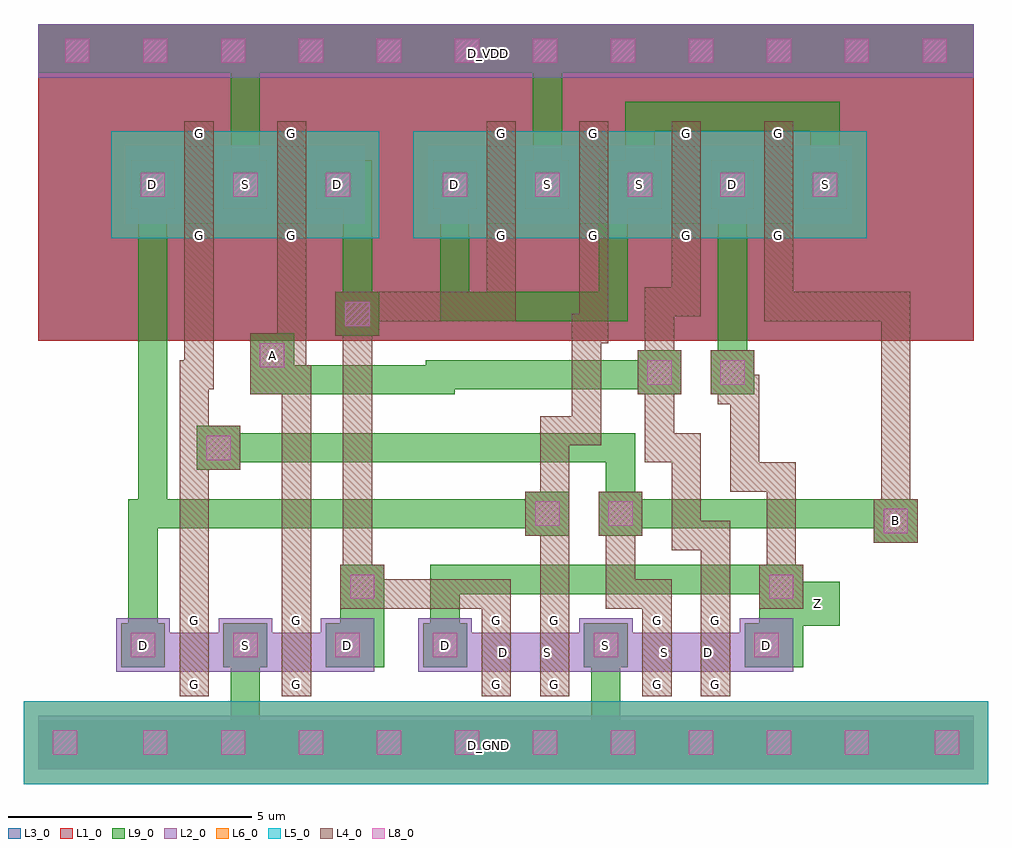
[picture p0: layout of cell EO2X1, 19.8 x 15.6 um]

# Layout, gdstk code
import gdstk
lib = gdstk.Library(unit=1e-6, precision=1e-09)
def R(c, l, rs):  # rectangles x0, y0, x1, y1
    for r in rs: c.add(gdstk.rectangle(r[:2], r[2:], *l))
def A(c, l, x, y, w, h, nx, ny, dx, dy):  # array of equal rectangles
    R(c, l, [(x+i*dx, y+j*dy, x+i*dx+w, y+j*dy+h) for i in range(nx) for j in range(ny)])
def P(c, l, *ps):  # polygons
    for p in ps: c.add(gdstk.Polygon(p, *l))
L1_0 = (1, 0)
L2_0 = (2, 0)
L3_0 = (3, 0)
L4_0 = (4, 0)
L5_0 = (5, 0)
L6_0 = (6, 0)
L8_0 = (8, 0)
L9_0 = (9, 0)

eo2x1 = lib.new_cell('EO2X1')
A(eo2x1, L1_0, -14.5, 4.6, 1.6, 6.5, 12, 1, 1.6, 0)
A(eo2x1, L1_0, -8, 5.5, 6, 4.6, 4, 1, 1.9, 0)
R(eo2x1, L1_0, [(-14.2,5.5,-8.2,10.1), (-12.3,5.5,-6.3,10.1)])
A(eo2x1, L2_0, -14.5, -4.2, 1.6, 1.1, 12, 2, 1.6, 14.2)
A(eo2x1, L2_0, -5.4, 7, 0.8, 1.6, 4, 1, 1.9, 0)
R(eo2x1, L2_0, [(-14.5,-4.2,-13.4,-3.1), (3.6,-4.2,4.7,-3.1), (-12.9,-2.2,-11.8,-1.1), (-11.8,-2.2,-10.8,-1.4), (-10.8,-2.2,-9.7,-1.1), (-10.8,-2.2,-9.7,-1.1), (-9.7,-2.2,-8.7,-1.4), (-8.7,-2.2,-7.6,-1.1), (-6.7,-2.2,-5.6,-1.1), (-5.6,-2.2,-4.6,-1.4), (-5.5,-2.2,-4.4,-1.4), (-4.6,-2.2,-3.5,-1.4), (-4.4,-2.2,-3.4,-1.4), (-3.4,-2.2,-2.3,-1.1), (-3.4,-2.2,-2.3,-1.1), (-2.3,-2.2,-1.3,-1.4), (-2.2,-2.2,-1.1,-1.4), (-1.3,-2.2,-0.2,-1.4), (-1.1,-2.2,-0.1,-1.4), (-0.1,-2.2,1,-1.1), (-12.7,7,-11.6,8.6), (-11.6,7,-10.8,8.6), (-10.8,7,-9.7,8.6), (-10.8,7,-9.7,8.6), (-9.7,7,-8.9,8.6), (-8.9,7,-7.8,8.6), (-6.5,7,-5.4,8.6), (-4.6,7,-3.5,8.6), (-4.6,7,-3.5,8.6), (-2.7,7,-1.6,8.6), (-2.7,7,-1.6,8.6), (-0.8,7,0.3,8.6), (-0.8,7,0.3,8.6), (1.1,7,2.2,8.6)])
A(eo2x1, L3_0, -14.5, 4.6, 1.6, 6.5, 12, 1, 1.6, 0)
A(eo2x1, L3_0, -8, 5.5, 6, 4.6, 4, 1, 1.9, 0)
R(eo2x1, L3_0, [(-14.2,5.5,-8.2,10.1), (-12.3,5.5,-6.3,10.1)])
A(eo2x1, L4_0, -5.3, 6.5, 0.6, 2.6, 4, 1, 1.9, 0)
A(eo2x1, L4_0, -5.3, 6.5, 0.6, 0.5, 4, 2, 1.9, 2.1)
R(eo2x1, L4_0, [(-11.6,-2.7,-11,-2.2), (-11.6,-2.7,-11,-0.9), (-9.5,-2.7,-8.9,-2.2), (-9.5,-2.7,-8.9,-0.9), (-5.4,-2.7,-4.8,-2.2), (-5.4,-2.7,-4.8,-0.9), (-4.2,-2.7,-3.6,-2.2), (-4.2,-2.7,-3.6,-0.9), (-2.1,-2.7,-1.5,-2.2), (-2.1,-2.7,-1.5,-0.9), (-0.9,-2.7,-0.3,-2.2), (-0.9,-2.7,-0.3,-0.9), (-11.6,-1.4,-11,-0.9), (-9.5,-1.4,-8.9,-0.9), (-5.4,-1.4,-4.8,-0.9), (-4.2,-1.4,-3.6,-0.9), (-2.1,-1.4,-1.5,-0.9), (-0.9,-1.4,-0.3,-0.9), (-11.6,-1.2,-11,4.1), (-9.5,-1.2,-8.9,4.1), (-0.9,-1.2,-0.3,0.55), (-8.3,-0.9,-7.4,0), (-7.8,-0.9,-4.8,-0.3), (0.3,-0.9,1.2,0), (0.45,-0.75,1.05,1.75), (-1.5,0.3,-0.3,0.9), (2.65,0.45,3.55,1.35), (-4.5,0.6,-3.6,1.5), (-3,0.6,-2.1,1.5), (-0.3,1.5,1.05,2.1), (-11.25,1.95,-10.35,2.85), (-10.15,3.5,-9.3,3.95), (-2.2,3.5,-1.3,4.4), (-0.7,3.5,0.2,4.4), (-10.15,3.85,-9.25,4.75), (-9.6,4.1,-9,5.8), (-2.05,4.2,-1.45,5.7), (-8.4,4.7,-7.5,5.6), (-11.5,4.75,-10.9,6.8), (-8.25,5,-4.7,5.6), (-5.3,5,-4.7,6.8), (-2.05,5.1,-0.9,5.7), (-9.6,5.2,-9,7.05), (-3.4,5.25,-2.8,6.8), (0.4,5.45,1,7.05), (-1.5,5.55,-0.9,6.8), (-11.5,6.5,-10.9,9.1), (-11.5,6.5,-10.9,7), (-9.6,6.5,-9,9.1), (-9.6,6.5,-9,7), (0.4,6.75,1,8.1), (-11.5,8.6,-10.9,9.1), (-9.6,8.6,-9,9.1)])
P(eo2x1, L4_0, [(-4.2,-1.2),(-3.6,-1.2),(-3.6,2.45),(-2.95,2.45),(-2.95,3.55),(-3.55,3.55),(-3.55,3.05),(-4.2,3.05)],
  [(-0.55,3.3),(-0.3,3.3),(-0.3,1.85),(0.3,1.85),(0.3,3.9),(0.05,3.9),(0.05,4.35),(-0.55,4.35)],
  [(-3.55,3.05),(-2.95,3.05),(-2.95,4.55),(-2.8,4.55),(-2.8,5.7),(-3.4,5.7),(-3.4,5.15),(-3.55,5.15)],
  [(-8.25,-0.8),(-7.4,-0.8),(-7.4,-0.2),(-7.65,-0.2),(-7.65,5.45),(-8.25,5.45)],
  [(-2.05,3.85),(-1.45,3.85),(-1.45,5.1),(-0.9,5.1),(-0.9,6.1),(-1.5,6.1),(-1.5,5.7),(-2.05,5.7)],
  [(0.4,5),(2.8,5),(2.8,0.6),(3.4,0.6),(3.4,5.6),(1,5.6),(1,6.05),(0.4,6.05)],
  [(-11.6,3.6),(-10.9,3.6),(-10.9,5.7),(-11.5,5.7),(-11.5,4.2),(-11.6,4.2)],
  [(-2.85,-0.9),(-2.1,-0.9),(-2.1,-1.55),(-1.5,-1.55),(-1.5,-0.3),(-2.25,-0.3),(-2.25,1.35),(-2.85,1.35)],
  [(-2.05,2.1),(-1.5,2.1),(-1.5,0.6),(-0.9,0.6),(-0.9,2.7),(-1.45,2.7),(-1.45,4.25),(-2.05,4.25)])
A(eo2x1, L5_0, -14.5, -4.5, 1.6, 1.7, 12, 1, 1.6, 0)
A(eo2x1, L5_0, -6.8, 6.7, 3.6, 2.2, 4, 1, 1.9, 0)
R(eo2x1, L5_0, [(-14.8,-4.5,-13.1,-2.8), (3.3,-4.5,5,-2.8), (-13,6.7,-9.4,8.9), (-11.1,6.7,-7.5,8.9)])
A(eo2x1, L6_0, -14.5, -4.5, 1.6, 1.7, 12, 1, 1.6, 0)
A(eo2x1, L6_0, -6.8, 6.7, 3.6, 2.2, 4, 1, 1.9, 0)
R(eo2x1, L6_0, [(-14.8,-4.5,-13.1,-2.8), (3.3,-4.5,5,-2.8), (-13,6.7,-9.4,8.9), (-11.1,6.7,-7.5,8.9)])
A(eo2x1, L8_0, -12.35, -3.9, 0.5, 0.5, 10, 1, 1.6, 0)
A(eo2x1, L8_0, -13.95, 10.3, 0.5, 0.5, 12, 1, 1.6, 0)
R(eo2x1, L8_0, [(-14.2,-3.9,-13.7,-3.4), (3.9,-3.9,4.4,-3.4), (-12.6,-1.9,-12.1,-1.4), (-10.5,-1.9,-10,-1.4), (-10.5,-1.9,-10,-1.4), (-8.4,-1.9,-7.9,-1.4), (-6.4,-1.9,-5.9,-1.4), (-3.1,-1.9,-2.6,-1.4), (-3.1,-1.9,-2.6,-1.4), (0.2,-1.9,0.7,-1.4), (-8.1,-0.7,-7.6,-0.2), (0.5,-0.7,1,-0.2), (2.85,0.65,3.35,1.15), (-4.3,0.8,-3.8,1.3), (-2.8,0.8,-2.3,1.3), (-11.05,2.15,-10.55,2.65), (-2,3.7,-1.5,4.2), (-0.5,3.7,0,4.2), (-9.95,4.05,-9.45,4.55), (-8.2,4.9,-7.7,5.4), (-12.4,7.55,-11.9,8.05), (-10.5,7.55,-10,8.05), (-10.5,7.55,-10,8.05), (-8.6,7.55,-8.1,8.05), (-6.2,7.55,-5.7,8.05), (-4.3,7.55,-3.8,8.05), (-4.3,7.55,-3.8,8.05), (-2.4,7.55,-1.9,8.05), (-2.4,7.55,-1.9,8.05), (-0.5,7.55,0,8.05), (-0.5,7.55,0,8.05), (1.4,7.55,1.9,8.05)])
A(eo2x1, L9_0, -14.5, -4.2, 1.6, 1, 12, 2, 1.6, 14.3)
R(eo2x1, L9_0, [(-14.5,-4.2,-13.4,-3.2), (-13.5,-4.2,3,-3.2), (3.6,-4.2,4.7,-3.2), (-3.15,-4,-2.55,-1.35), (-12.8,-2.1,-11.9,-1.2), (-10.7,-2.1,-9.8,-1.2), (-10.7,-2.1,-9.8,-1.2), (-8.6,-2.1,-7.7,-1.2), (-8.3,-2.1,-7.4,-0.85), (-6.6,-2.1,-5.7,-1.2), (-3.3,-2.1,-2.4,-1.2), (-3.3,-2.1,-2.4,-1.2), (0,-2.1,0.9,-1.2), (0.3,-2.1,1.2,-0.75), (-12.65,-1.95,-12.05,1.35), (-6.45,-1.95,-5.85,-0.1), (1.05,-1.25,1.95,-0.35), (1.2,-1.1,1.8,-0.5), (-8.3,-0.9,-7.4,0), (0.3,-0.9,1.2,0), (-6.45,-0.6,-3,0), (-3.4,-0.6,1.2,0), (2.65,0.45,3.55,1.35), (-4.5,0.6,-3.6,1.5), (-3,0.6,-2.1,1.5), (2.8,0.6,3.4,1.2), (-12.65,0.75,-3.75,1.35), (-2.85,0.75,-2.25,2.7), (-2.85,0.75,2.4,1.35), (2.05,0.75,3.25,1.35), (-11.25,1.95,-10.35,2.85), (-11.25,2.1,-4,2.7), (-4.6,2.1,-2.45,2.7), (-10.15,3.5,-8.75,4.1), (-9.6,3.5,-7.25,4.1), (-2.2,3.5,-1.3,4.4), (-0.7,3.5,0.2,4.4), (-6.55,3.6,-1.6,4.2), (-10.15,3.85,-9.25,4.75), (-10,4,-9.4,4.6), (-0.55,4.05,0.05,7), (-8.4,4.7,-7.5,5.6), (-8.25,4.85,-7.65,7.2), (-6.25,5,-5.65,7), (-8.25,6.2,-7.65,8.3), (-12.45,6.4,-11.85,7.9), (-6.25,6.4,-5.65,8.05), (-3,6.4,-2.4,8.3), (-0.55,6.4,0.05,7.7), (-12.6,7.3,-11.7,8.3), (-10.7,7.3,-9.8,8.3), (-10.7,7.3,-9.8,8.3), (-8.8,7.3,-7.9,8.3), (-6.4,7.3,-5.5,8.3), (-4.5,7.3,-3.6,8.3), (-4.5,7.3,-3.6,8.3), (-2.6,7.3,-1.7,8.3), (-2.6,7.3,-1.7,8.3), (-0.7,7.3,0.2,8.3), (-0.7,7.3,0.2,8.3), (1.2,7.3,2.1,8.3), (-10.55,7.55,-9.95,10.75), (-4.35,7.7,-3.75,9.55), (-4.35,8.75,-3.75,10.6), (-13.5,10.1,3,11.1), (-13.25,10.25,2.2,10.85)])
P(eo2x1, L9_0, [(-2.45,7.5),(-1.85,7.5),(-1.85,8.9),(1.35,8.9),(1.35,7.75),(1.95,7.75),(1.95,9.5),(-2.45,9.5)],
  [(-10.55,-4),(-2.65,-4),(-2.65,-3.4),(-9.95,-3.4),(-9.95,-1.35),(-10.55,-1.35)],
  [(-12.65,0.75),(-11.85,0.75),(-11.85,7),(-12.45,7),(-12.45,1.35),(-12.65,1.35)],
  [(-7.85,3.5),(-5.95,3.5),(-5.95,4.2),(-6.55,4.2),(-6.55,4.1),(-7.85,4.1)],
  [(-6.25,5),(-2.4,5),(-2.4,7),(-3,7),(-3,5.6),(-6.25,5.6)])
eo2x1.add(gdstk.Label('G', (-1.2,6.752), layer=4, texttype=0))
eo2x1.add(gdstk.Label('G', (-1.2,8.852), layer=4, texttype=0))
eo2x1.add(gdstk.Label('S', (-2.151,7.801), layer=9, texttype=0))
eo2x1.add(gdstk.Label('D', (-0.251,7.801), layer=9, texttype=0))
eo2x1.add(gdstk.Label('G', (-5,6.752), layer=4, texttype=0))
eo2x1.add(gdstk.Label('G', (-5,8.852), layer=4, texttype=0))
eo2x1.add(gdstk.Label('S', (-4.049,7.801), layer=9, texttype=0))
eo2x1.add(gdstk.Label('D', (-5.949,7.801), layer=9, texttype=0))
eo2x1.add(gdstk.Label('D', (-0.751,-1.799), layer=2, texttype=0))
eo2x1.add(gdstk.Label('G', (-1.8,-2.448), layer=4, texttype=0))
eo2x1.add(gdstk.Label('G', (-1.8,-1.148), layer=4, texttype=0))
eo2x1.add(gdstk.Label('S', (-2.851,-1.649), layer=9, texttype=0))
eo2x1.add(gdstk.Label('G', (-5.1,-2.448), layer=4, texttype=0))
eo2x1.add(gdstk.Label('G', (-5.1,-1.148), layer=4, texttype=0))
eo2x1.add(gdstk.Label('S', (-4.049,-1.799), layer=2, texttype=0))
eo2x1.add(gdstk.Label('D', (-6.149,-1.649), layer=9, texttype=0))
eo2x1.add(gdstk.Label('G', (-0.6,-2.448), layer=4, texttype=0))
eo2x1.add(gdstk.Label('G', (-0.6,-1.148), layer=4, texttype=0))
eo2x1.add(gdstk.Label('S', (-1.651,-1.799), layer=2, texttype=0))
eo2x1.add(gdstk.Label('D', (0.449,-1.649), layer=9, texttype=0))
eo2x1.add(gdstk.Label('G', (-9.3,6.752), layer=4, texttype=0))
eo2x1.add(gdstk.Label('G', (-9.3,8.852), layer=4, texttype=0))
eo2x1.add(gdstk.Label('S', (-10.251,7.801), layer=9, texttype=0))
eo2x1.add(gdstk.Label('D', (-8.351,7.801), layer=9, texttype=0))
eo2x1.add(gdstk.Label('G', (0.7,6.752), layer=4, texttype=0))
eo2x1.add(gdstk.Label('G', (0.7,8.852), layer=4, texttype=0))
eo2x1.add(gdstk.Label('S', (1.651,7.801), layer=9, texttype=0))
eo2x1.add(gdstk.Label('D', (-0.249,7.801), layer=9, texttype=0))
eo2x1.add(gdstk.Label('G', (-11.2,6.752), layer=4, texttype=0))
eo2x1.add(gdstk.Label('G', (-11.2,8.852), layer=4, texttype=0))
eo2x1.add(gdstk.Label('S', (-10.249,7.801), layer=9, texttype=0))
eo2x1.add(gdstk.Label('D', (-12.149,7.801), layer=9, texttype=0))
eo2x1.add(gdstk.Label('G', (-9.2,-2.448), layer=4, texttype=0))
eo2x1.add(gdstk.Label('G', (-9.2,-1.148), layer=4, texttype=0))
eo2x1.add(gdstk.Label('S', (-10.251,-1.649), layer=9, texttype=0))
eo2x1.add(gdstk.Label('D', (-8.151,-1.649), layer=9, texttype=0))
eo2x1.add(gdstk.Label('D', (-4.949,-1.799), layer=2, texttype=0))
eo2x1.add(gdstk.Label('G', (-3.9,-2.448), layer=4, texttype=0))
eo2x1.add(gdstk.Label('G', (-3.9,-1.148), layer=4, texttype=0))
eo2x1.add(gdstk.Label('S', (-2.849,-1.649), layer=9, texttype=0))
eo2x1.add(gdstk.Label('G', (-3.1,6.752), layer=4, texttype=0))
eo2x1.add(gdstk.Label('G', (-3.1,8.852), layer=4, texttype=0))
eo2x1.add(gdstk.Label('S', (-4.051,7.801), layer=9, texttype=0))
eo2x1.add(gdstk.Label('D', (-2.151,7.801), layer=9, texttype=0))
eo2x1.add(gdstk.Label('G', (-11.3,-2.448), layer=4, texttype=0))
eo2x1.add(gdstk.Label('G', (-11.3,-1.148), layer=4, texttype=0))
eo2x1.add(gdstk.Label('S', (-10.249,-1.649), layer=9, texttype=0))
eo2x1.add(gdstk.Label('D', (-12.349,-1.649), layer=9, texttype=0))
eo2x1.add(gdstk.Label('Z', (1.5,-0.8), layer=50, texttype=0))
eo2x1.add(gdstk.Label('D_GND', (-5.25,-3.7), layer=50, texttype=0))
eo2x1.add(gdstk.Label('B', (3.1,0.9), layer=50, texttype=0))
eo2x1.add(gdstk.Label('A', (-9.7,4.3), layer=50, texttype=0))
eo2x1.add(gdstk.Label('D_VDD', (-5.25,10.5), layer=50, texttype=0))

lib.write_gds('EO2X1.gds')
